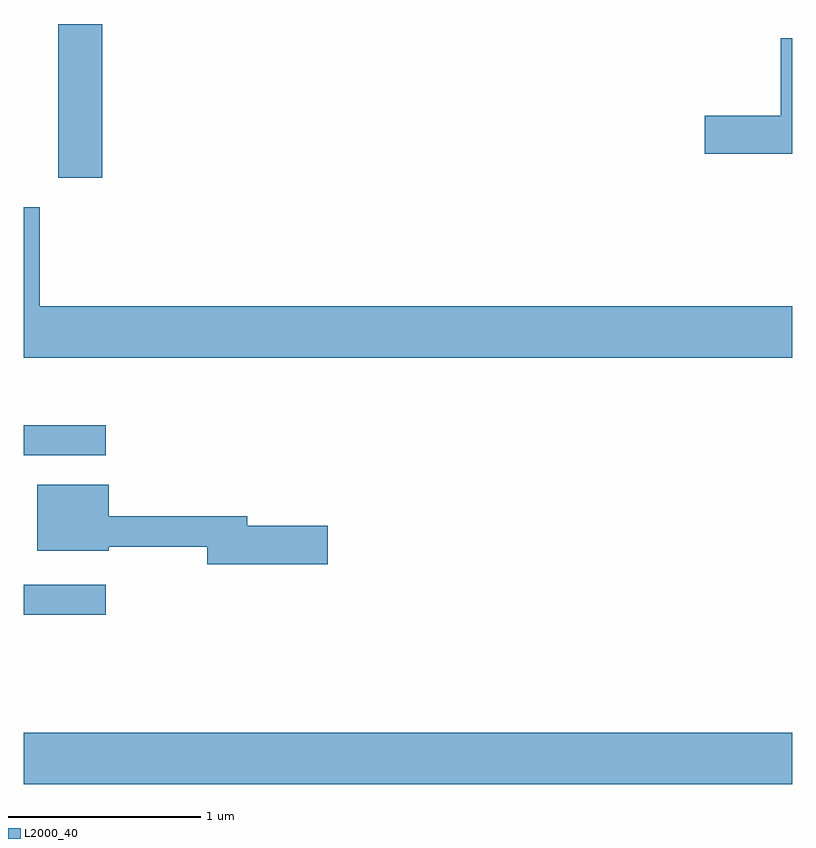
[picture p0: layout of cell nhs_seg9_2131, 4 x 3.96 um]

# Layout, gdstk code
import gdstk
lib = gdstk.Library(unit=1e-6, precision=1e-09)
def R(c, l, rs):  # rectangles x0, y0, x1, y1
    for r in rs: c.add(gdstk.rectangle(r[:2], r[2:], *l))
def P(c, l, *ps):  # polygons
    for p in ps: c.add(gdstk.Polygon(p, *l))
L2000_40 = (2000, 40)

nhs_seg9_2131 = lib.new_cell('nhs_seg9_2131')
R(nhs_seg9_2131, L2000_40, [(247.611,1998.476,251.611,1998.744), (247.611,1999.356,248.038,1999.514), (247.611,2000.186,248.038,2000.344), (247.791,2001.631,248.019,2002.432)])
P(nhs_seg9_2131, L2000_40, [(251.611,2002.359),(251.551,2002.359),(251.551,2001.954),(251.156,2001.954),(251.156,2001.756),(251.611,2001.756)],
  [(251.611,2000.964),(247.694,2000.964),(247.694,2001.479),(247.611,2001.479),(247.611,2000.696),(251.611,2000.696)],
  [(249.194,1999.819),(248.774,1999.819),(248.774,1999.869),(248.054,1999.869),(248.054,2000.034),(247.681,2000.034),(247.681,1999.691),(248.054,1999.691),(248.054,1999.711),(248.566,1999.711),(248.566,1999.621),(249.194,1999.621)])

lib.write_gds('nhs_seg9_2131.gds')
